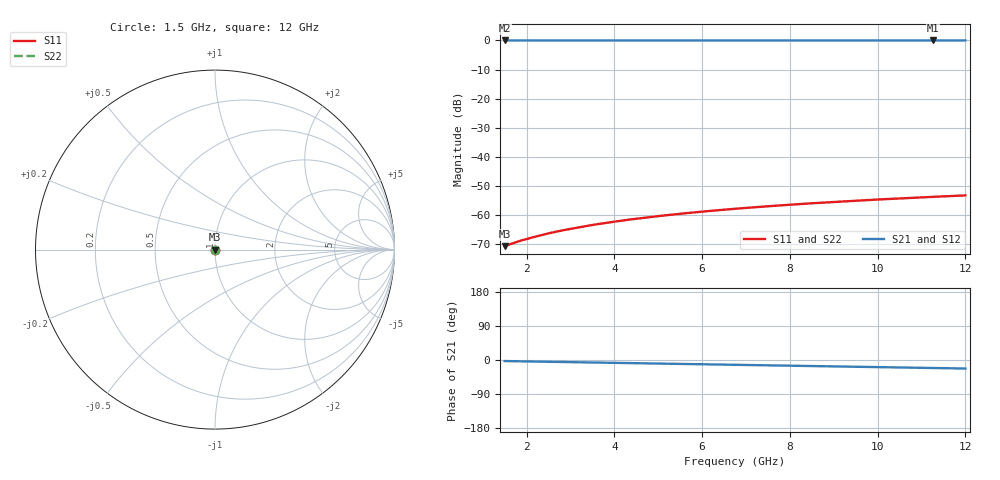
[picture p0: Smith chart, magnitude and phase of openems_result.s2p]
# Hz S RI R 50
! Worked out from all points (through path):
!   401 points, 1.5 GHz to 12 GHz, reference 50 ohm
!   highest |S21| = 0.00 dB at 11.27 GHz (marker M1); lowest = 0.0 dB at 1.5 GHz (marker M2)
!   group delay of S21, straight-line fit = 5.21 ps
!   lowest |S11| = -70.7 dB at 1.5 GHz (marker M3), VSWR 1.00, Z = 50 - j0.0291 ohm
!   |S11| at or under -10 dB: start of sweep to end of sweep
!   |S22| runs from -70.7 to -53.2 dB; largest |S21 - S12| = 0
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1.5e9  -3.04e-05 -0.000291  0.9987 -0.0491  0.9987 -0.0491  -3.04e-05 -0.000291
1.5525e9  -3.3e-05 -0.0003  0.9986 -0.0508  0.9986 -0.0508  -3.3e-05 -0.0003
1.605e9  -3.4e-05 -0.000308  0.9986 -0.0525  0.9986 -0.0525  -3.4e-05 -0.000308
1.815e9  -3.97e-05 -0.000351  0.9982 -0.0594  0.9982 -0.0594  -3.97e-05 -0.000351
1.89375e9  -4.61e-05 -0.000367  0.998 -0.062  0.998 -0.062  -4.61e-05 -0.000367
2.025e9  -5.15e-05 -0.000387  0.9978 -0.0663  0.9978 -0.0663  -5.15e-05 -0.000387
2.20875e9  -5.98e-05 -0.000424  0.9974 -0.0723  0.9974 -0.0723  -5.98e-05 -0.000424
2.3925e9  -6.99e-05 -0.000459  0.9969 -0.0783  0.9969 -0.0783  -6.99e-05 -0.000459
2.8125e9  -9.75e-05 -0.000537  0.9958 -0.092  0.9958 -0.092  -9.75e-05 -0.000537
3.25875e9  -0.000132 -0.000617  0.9943 -0.1065  0.9943 -0.1065  -0.000132 -0.000617
3.52125e9  -0.000153 -0.000664  0.9934 -0.1151  0.9934 -0.1151  -0.000153 -0.000664
4.0725e9  -0.000203 -0.000759  0.9911 -0.133  0.9911 -0.133  -0.000203 -0.000759
4.3875e9  -0.000235 -0.000812  0.9897 -0.1432  0.9897 -0.1432  -0.000235 -0.000812
5.0175e9  -0.000305 -0.000914  0.9865 -0.1636  0.9865 -0.1636  -0.000305 -0.000914
5.8575e9  -0.000412 -0.00104  0.9817 -0.1907  0.9817 -0.1907  -0.000412 -0.00104
6.75e9  -0.00054 -0.00116  0.9757 -0.2193  0.9757 -0.2193  -0.00054 -0.00116
7.6425e9  -0.000683 -0.00127  0.9688 -0.2477  0.9688 -0.2477  -0.000683 -0.00127
8.50875e9  -0.000834 -0.00136  0.9614 -0.2751  0.9614 -0.2751  -0.000834 -0.00136
9.5325e9  -0.00102 -0.00145  0.9517 -0.3071  0.9517 -0.3071  -0.00102 -0.00145
1.02675e10  -0.00117 -0.00149  0.944 -0.33  0.944 -0.33  -0.00117 -0.00149
1.1265e10  -0.00137 -0.00153  0.9327 -0.3606  0.9327 -0.3606  -0.00137 -0.00153
1.2e10  -0.00153 -0.00155  0.9237 -0.3829  0.9237 -0.3829  -0.00153 -0.00155
